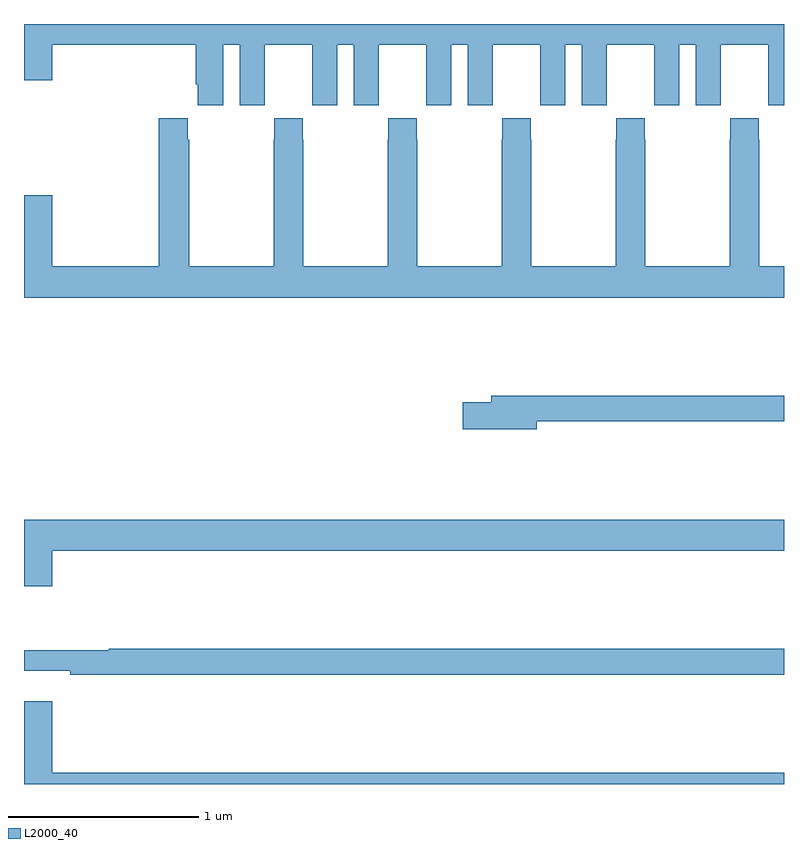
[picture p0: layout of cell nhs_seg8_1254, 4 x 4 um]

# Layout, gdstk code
import gdstk
lib = gdstk.Library(unit=1e-6, precision=1e-09)
def P(c, l, *ps):  # polygons
    for p in ps: c.add(gdstk.Polygon(p, *l))
L2000_40 = (2000, 40)

nhs_seg8_1254 = lib.new_cell('nhs_seg8_1254')
P(nhs_seg8_1254, L2000_40, [(189,1157.604),(189.148,1157.604),(189.148,1157.792),(189.905,1157.792),(189.905,1157.584),(189.914,1157.584),(189.914,1157.472),(190.048,1157.472),(190.048,1157.792),(190.136,1157.792),(190.136,1157.472),(190.266,1157.472),(190.266,1157.584),(190.267,1157.584),(190.267,1157.792),(190.517,1157.792),(190.517,1157.584),(190.518,1157.584),(190.518,1157.472),(190.648,1157.472),(190.648,1157.792),(190.736,1157.792),(190.736,1157.472),(190.866,1157.472),(190.866,1157.584),(190.867,1157.584),(190.867,1157.792),(191.117,1157.792),(191.117,1157.584),(191.118,1157.584),(191.118,1157.472),(191.248,1157.472),(191.248,1157.792),(191.336,1157.792),(191.336,1157.472),(191.466,1157.472),(191.466,1157.584),(191.467,1157.584),(191.467,1157.792),(191.717,1157.792),(191.717,1157.584),(191.718,1157.584),(191.718,1157.472),(191.848,1157.472),(191.848,1157.792),(191.936,1157.792),(191.936,1157.472),(192.066,1157.472),(192.066,1157.584),(192.067,1157.584),(192.067,1157.792),(192.317,1157.792),(192.317,1157.584),(192.318,1157.584),(192.318,1157.472),(192.448,1157.472),(192.448,1157.792),(192.536,1157.792),(192.536,1157.472),(192.666,1157.472),(192.666,1157.584),(192.667,1157.584),(192.667,1157.792),(192.917,1157.792),(192.917,1157.584),(192.918,1157.584),(192.918,1157.472),(193,1157.472),(193,1157.9),(189,1157.9)],
  [(193,1156.624),(192.87,1156.624),(192.87,1157.291),(192.867,1157.291),(192.867,1157.404),(192.717,1157.404),(192.717,1157.291),(192.715,1157.291),(192.715,1156.624),(192.27,1156.624),(192.27,1157.291),(192.267,1157.291),(192.267,1157.404),(192.117,1157.404),(192.117,1157.291),(192.115,1157.291),(192.115,1156.624),(191.67,1156.624),(191.67,1157.291),(191.667,1157.291),(191.667,1157.404),(191.517,1157.404),(191.517,1157.291),(191.515,1157.291),(191.515,1156.624),(191.07,1156.624),(191.07,1157.291),(191.067,1157.291),(191.067,1157.404),(190.917,1157.404),(190.917,1157.291),(190.915,1157.291),(190.915,1156.624),(190.47,1156.624),(190.47,1157.291),(190.467,1157.291),(190.467,1157.404),(190.317,1157.404),(190.317,1157.291),(190.315,1157.291),(190.315,1156.624),(189.87,1156.624),(189.87,1157.291),(189.863,1157.291),(189.863,1157.404),(189.71,1157.404),(189.71,1156.624),(189.148,1156.624),(189.148,1156.999),(189,1156.999),(189,1156.46),(193,1156.46)],
  [(191.698,1155.808),(193,1155.808),(193,1155.944),(191.459,1155.944),(191.459,1155.908),(191.31,1155.908),(191.31,1155.766),(191.698,1155.766)],
  [(189.148,1155.128),(193,1155.128),(193,1155.292),(189,1155.292),(189,1154.94),(189.148,1154.94)],
  [(193,1154.612),(189.445,1154.612),(189.445,1154.605),(189,1154.605),(189,1154.495),(189.244,1154.495),(189.244,1154.476),(193,1154.476)],
  [(193,1153.96),(189.148,1153.96),(189.148,1154.335),(189,1154.335),(189,1153.9),(193,1153.9)])

lib.write_gds('nhs_seg8_1254.gds')
